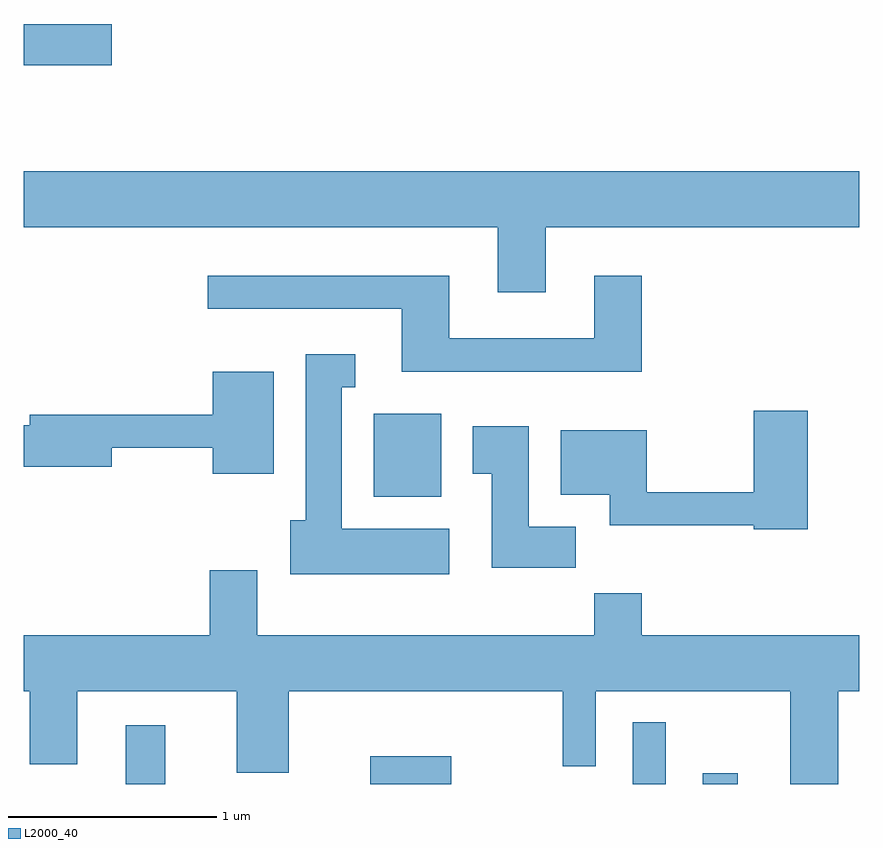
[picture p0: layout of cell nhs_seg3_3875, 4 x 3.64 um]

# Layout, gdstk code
import gdstk
lib = gdstk.Library(unit=1e-6, precision=1e-09)
def R(c, l, rs):  # rectangles x0, y0, x1, y1
    for r in rs: c.add(gdstk.rectangle(r[:2], r[2:], *l))
def P(c, l, *ps):  # polygons
    for p in ps: c.add(gdstk.Polygon(p, *l))
L2000_40 = (2000, 40)

nhs_seg3_3875 = lib.new_cell('nhs_seg3_3875')
R(nhs_seg3_3875, L2000_40, [(298.101,1249.892,298.289,1250.174), (299.271,1249.892,299.658,1250.024), (300.526,1249.892,300.684,1250.188), (300.861,1249.892,301.029,1249.943), (299.286,1251.266,299.609,1251.664), (297.611,1253.331,298.034,1253.529)])
P(nhs_seg3_3875, L2000_40, [(300.109,1252.556),(301.611,1252.556),(301.611,1252.824),(297.611,1252.824),(297.611,1252.556),(299.881,1252.556),(299.881,1252.246),(300.109,1252.246)],
  [(300.569,1252.324),(300.341,1252.324),(300.341,1252.024),(299.649,1252.024),(299.649,1252.324),(298.493,1252.324),(298.493,1252.166),(299.421,1252.166),(299.421,1251.866),(300.569,1251.866)],
  [(299.649,1251.114),(299.134,1251.114),(299.134,1251.791),(299.198,1251.791),(299.198,1251.949),(298.961,1251.949),(298.961,1251.154),(298.886,1251.154),(298.886,1250.896),(299.649,1250.896)],
  [(298.809,1251.864),(298.516,1251.864),(298.516,1251.659),(297.641,1251.659),(297.641,1251.609),(297.611,1251.609),(297.611,1251.411),(298.034,1251.411),(298.034,1251.501),(298.516,1251.501),(298.516,1251.376),(298.809,1251.376)],
  [(301.364,1251.679),(301.106,1251.679),(301.106,1251.289),(300.594,1251.289),(300.594,1251.584),(300.181,1251.584),(300.181,1251.276),(300.416,1251.276),(300.416,1251.131),(301.106,1251.131),(301.106,1251.111),(301.364,1251.111)],
  [(300.254,1251.124),(300.029,1251.124),(300.029,1251.604),(299.761,1251.604),(299.761,1251.376),(299.851,1251.376),(299.851,1250.926),(300.254,1250.926)],
  [(301.509,1250.336),(301.611,1250.336),(301.611,1250.604),(300.569,1250.604),(300.569,1250.804),(300.341,1250.804),(300.341,1250.604),(298.729,1250.604),(298.729,1250.914),(298.501,1250.914),(298.501,1250.604),(297.611,1250.604),(297.611,1250.336),(297.641,1250.336),(297.641,1249.986),(297.869,1249.986),(297.869,1250.336),(298.631,1250.336),(298.631,1249.946),(298.879,1249.946),(298.879,1250.336),(300.191,1250.336),(300.191,1249.978),(300.349,1249.978),(300.349,1250.336),(301.281,1250.336),(301.281,1249.892),(301.509,1249.892)])

lib.write_gds('nhs_seg3_3875.gds')
